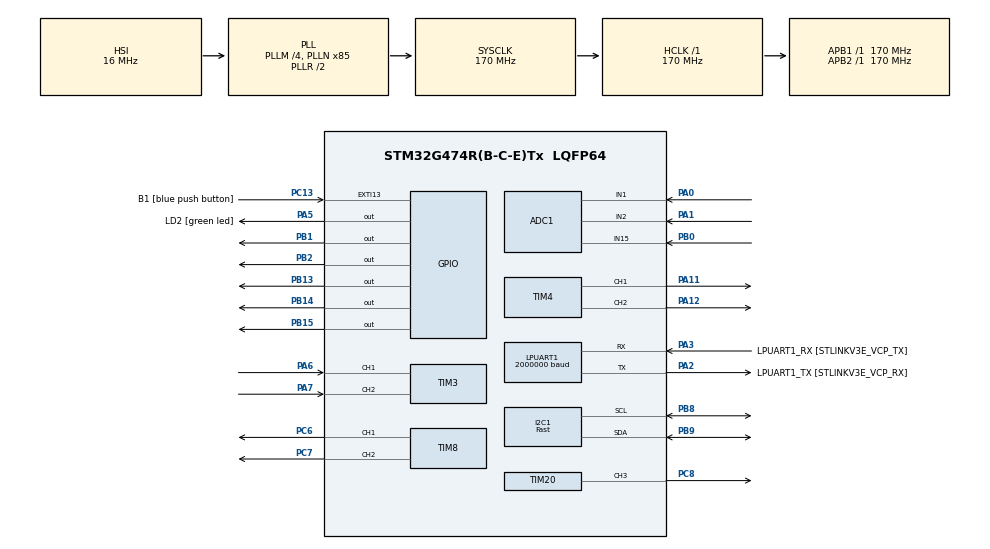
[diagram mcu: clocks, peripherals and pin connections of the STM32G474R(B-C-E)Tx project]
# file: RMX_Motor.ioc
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ADC1.Channel-0\#ChannelRegularConversion=ADC_CHANNEL_1
ADC1.Channel-1\#ChannelRegularConversion=ADC_CHANNEL_2
ADC1.Channel-2\#ChannelRegularConversion=ADC_CHANNEL_15
ADC1.ContinuousConvMode=ENABLE
ADC1.DMAContinuousRequests=ENABLE
ADC1.ExternalTrigConv=ADC_EXTERNALTRIG_T2_TRGO
ADC1.NbrOfConversion=3
ADC1.NbrOfConversionFlag=1
ADC1.OffsetNumber-0\#ChannelRegularConversion=ADC_OFFSET_NONE
ADC1.OffsetNumber-1\#ChannelRegularConversion=ADC_OFFSET_NONE
ADC1.OffsetNumber-2\#ChannelRegularConversion=ADC_OFFSET_NONE
ADC1.Rank-0\#ChannelRegularConversion=1
ADC1.Rank-1\#ChannelRegularConversion=2
ADC1.Rank-2\#ChannelRegularConversion=3
ADC1.SamplingTime-0\#ChannelRegularConversion=ADC_SAMPLETIME_640CYCLES_5
ADC1.SamplingTime-1\#ChannelRegularConversion=ADC_SAMPLETIME_640CYCLES_5
ADC1.SamplingTime-2\#ChannelRegularConversion=ADC_SAMPLETIME_640CYCLES_5
ADC1.master=1
Dma.ADC1.0.Direction=DMA_PERIPH_TO_MEMORY
Dma.ADC1.0.EventEnable=DISABLE
Dma.ADC1.0.Instance=DMA1_Channel1
Dma.ADC1.0.MemDataAlignment=DMA_MDATAALIGN_HALFWORD
Dma.ADC1.0.MemInc=DMA_MINC_ENABLE
Dma.ADC1.0.Mode=DMA_CIRCULAR
Dma.ADC1.0.PeriphDataAlignment=DMA_PDATAALIGN_HALFWORD
Dma.ADC1.0.PeriphInc=DMA_PINC_DISABLE
Dma.ADC1.0.Polarity=HAL_DMAMUX_REQ_GEN_RISING
Dma.ADC1.0.Priority=DMA_PRIORITY_LOW
Dma.ADC1.0.RequestNumber=1
Dma.ADC1.0.SignalID=NONE
Dma.ADC1.0.SyncEnable=DISABLE
Dma.ADC1.0.SyncPolarity=HAL_DMAMUX_SYNC_NO_EVENT
Dma.ADC1.0.SyncRequestNumber=1
Dma.ADC1.0.SyncSignalID=NONE
Dma.I2C1_RX.3.Direction=DMA_PERIPH_TO_MEMORY
Dma.I2C1_RX.3.EventEnable=DISABLE
Dma.I2C1_RX.3.Instance=DMA1_Channel4
Dma.I2C1_RX.3.MemDataAlignment=DMA_MDATAALIGN_BYTE
Dma.I2C1_RX.3.MemInc=DMA_MINC_ENABLE
Dma.I2C1_RX.3.Mode=DMA_NORMAL
Dma.I2C1_RX.3.PeriphDataAlignment=DMA_PDATAALIGN_BYTE
Dma.I2C1_RX.3.PeriphInc=DMA_PINC_DISABLE
Dma.I2C1_RX.3.Polarity=HAL_DMAMUX_REQ_GEN_RISING
Dma.I2C1_RX.3.Priority=DMA_PRIORITY_LOW
Dma.I2C1_RX.3.RequestNumber=1
Dma.I2C1_RX.3.SignalID=NONE
Dma.I2C1_RX.3.SyncEnable=DISABLE
Dma.I2C1_RX.3.SyncPolarity=HAL_DMAMUX_SYNC_NO_EVENT
Dma.I2C1_RX.3.SyncRequestNumber=1
Dma.I2C1_RX.3.SyncSignalID=NONE
Dma.I2C1_TX.4.Direction=DMA_MEMORY_TO_PERIPH
Dma.I2C1_TX.4.EventEnable=DISABLE
Dma.I2C1_TX.4.Instance=DMA1_Channel5
Dma.I2C1_TX.4.MemDataAlignment=DMA_MDATAALIGN_BYTE
Dma.I2C1_TX.4.MemInc=DMA_MINC_ENABLE
Dma.I2C1_TX.4.Mode=DMA_NORMAL
Dma.I2C1_TX.4.PeriphDataAlignment=DMA_PDATAALIGN_BYTE
Dma.I2C1_TX.4.PeriphInc=DMA_PINC_DISABLE
Dma.I2C1_TX.4.Polarity=HAL_DMAMUX_REQ_GEN_RISING
Dma.I2C1_TX.4.Priority=DMA_PRIORITY_LOW
Dma.I2C1_TX.4.RequestNumber=1
Dma.I2C1_TX.4.SignalID=NONE
Dma.I2C1_TX.4.SyncEnable=DISABLE
Dma.I2C1_TX.4.SyncPolarity=HAL_DMAMUX_SYNC_NO_EVENT
Dma.I2C1_TX.4.SyncRequestNumber=1
Dma.I2C1_TX.4.SyncSignalID=NONE
Dma.LPUART1_RX.1.Direction=DMA_PERIPH_TO_MEMORY
Dma.LPUART1_RX.1.EventEnable=DISABLE
Dma.LPUART1_RX.1.Instance=DMA1_Channel2
Dma.LPUART1_RX.1.MemDataAlignment=DMA_MDATAALIGN_BYTE
Dma.LPUART1_RX.1.MemInc=DMA_MINC_ENABLE
Dma.LPUART1_RX.1.Mode=DMA_CIRCULAR
Dma.LPUART1_RX.1.PeriphDataAlignment=DMA_PDATAALIGN_BYTE
Dma.LPUART1_RX.1.PeriphInc=DMA_PINC_DISABLE
Dma.LPUART1_RX.1.Polarity=HAL_DMAMUX_REQ_GEN_RISING
Dma.LPUART1_RX.1.Priority=DMA_PRIORITY_LOW
Dma.LPUART1_RX.1.RequestNumber=1
Dma.LPUART1_RX.1.SignalID=NONE
Dma.LPUART1_RX.1.SyncEnable=DISABLE
Dma.LPUART1_RX.1.SyncPolarity=HAL_DMAMUX_SYNC_NO_EVENT
Dma.LPUART1_RX.1.SyncRequestNumber=1
Dma.LPUART1_RX.1.SyncSignalID=NONE
Dma.LPUART1_TX.2.Direction=DMA_MEMORY_TO_PERIPH
Dma.LPUART1_TX.2.EventEnable=DISABLE
Dma.LPUART1_TX.2.Instance=DMA1_Channel3
Dma.LPUART1_TX.2.MemDataAlignment=DMA_MDATAALIGN_BYTE
Dma.LPUART1_TX.2.MemInc=DMA_MINC_ENABLE
Dma.LPUART1_TX.2.Mode=DMA_NORMAL
Dma.LPUART1_TX.2.PeriphDataAlignment=DMA_PDATAALIGN_BYTE
Dma.LPUART1_TX.2.PeriphInc=DMA_PINC_DISABLE
Dma.LPUART1_TX.2.Polarity=HAL_DMAMUX_REQ_GEN_RISING
Dma.LPUART1_TX.2.Priority=DMA_PRIORITY_LOW
Dma.LPUART1_TX.2.RequestNumber=1
Dma.LPUART1_TX.2.SignalID=NONE
Dma.LPUART1_TX.2.SyncEnable=DISABLE
Dma.LPUART1_TX.2.SyncPolarity=HAL_DMAMUX_SYNC_NO_EVENT
Dma.LPUART1_TX.2.SyncRequestNumber=1
Dma.LPUART1_TX.2.SyncSignalID=NONE
Dma.Request0=ADC1
Dma.Request1=LPUART1_RX
Dma.Request2=LPUART1_TX
Dma.Request3=I2C1_RX
Dma.Request4=I2C1_TX
I2C1.I2C_Speed_Mode=I2C_Fast
I2C1.Timing=0x40621236
LPUART1.BaudRate=2000000
LPUART1.Parity=UART_PARITY_NONE
Mcu.Family=STM32G4
Mcu.Name=STM32G474R(B-C-E)Tx
Mcu.Package=LQFP64
NVIC.DMA1_Channel1_IRQn=true\:0\:0\:false\:false\:true\:false\:true\:true
NVIC.DMA1_Channel2_IRQn=true\:0\:0\:false\:false\:true\:false\:true\:true
NVIC.DMA1_Channel3_IRQn=true\:0\:0\:false\:false\:true\:false\:true\:true
NVIC.DMA1_Channel4_IRQn=true\:0\:0\:false\:false\:true\:false\:true\:true
NVIC.DMA1_Channel5_IRQn=true\:0\:0\:false\:false\:true\:false\:true\:true
NVIC.EXTI15_10_IRQn=true\:0\:0\:false\:false\:true\:true\:true\:true
NVIC.I2C1_ER_IRQn=true\:0\:0\:false\:false\:true\:true\:true\:true
NVIC.I2C1_EV_IRQn=true\:0\:0\:false\:false\:true\:true\:true\:true
NVIC.LPUART1_IRQn=true\:0\:0\:false\:false\:true\:true\:true\:true
NVIC.PriorityGroup=NVIC_PRIORITYGROUP_4
NVIC.TIM2_IRQn=true\:0\:0\:false\:false\:true\:true\:true\:true
PA0.Mode=IN1-Single-Ended
PA0.Signal=ADC1_IN1
PA1.Mode=IN2-Single-Ended
PA1.Signal=ADC1_IN2
PA11.Signal=S_TIM4_CH1
PA12.Signal=S_TIM4_CH2
PA13.GPIO_Label=T_SWDIO
PA13.Signal=SYS_JTMS-SWDIO
PA14.GPIO_Label=T_SWCLK
PA14.Signal=SYS_JTCK-SWCLK
PA2.GPIO_Label=LPUART1_TX [STLINKV3E_VCP_RX]
PA2.Mode=Asynchronous
PA2.Signal=LPUART1_TX
PA3.GPIO_Label=LPUART1_RX [STLINKV3E_VCP_TX]
PA3.Mode=Asynchronous
PA3.Signal=LPUART1_RX
PA5.GPIO_Label=LD2 [green led]
PA5.Signal=GPIO_Output
PA6.Signal=S_TIM3_CH1
PA7.Signal=S_TIM3_CH2
PB0.Mode=IN15-Single-Ended
PB0.Signal=ADC1_IN15
PB1.Signal=GPIO_Output
PB13.Signal=GPIO_Output
PB14.Signal=GPIO_Output
PB15.Signal=GPIO_Output
PB2.Signal=GPIO_Output
PB3.GPIO_Label=T_SWO
PB3.Signal=SYS_JTDO-SWO
PB8-BOOT0.Mode=I2C
PB8-BOOT0.Signal=I2C1_SCL
PB9.Mode=I2C
PB9.Signal=I2C1_SDA
PC13.GPIO_Label=B1 [blue push button]
PC13.Signal=GPXTI13
PC14-OSC32_IN.GPIO_Label=RCC_OSC32_IN
PC14-OSC32_IN.Signal=RCC_OSC32_IN
PC15-OSC32_OUT.GPIO_Label=RCC_OSC32_OUT
PC15-OSC32_OUT.Signal=RCC_OSC32_OUT
PC6.Signal=S_TIM8_CH1
PC7.Signal=S_TIM8_CH2
PC8.Signal=S_TIM20_CH3
PF0-OSC_IN.GPIO_Label=RCC_OSC_IN
PF0-OSC_IN.Signal=RCC_OSC_IN
PF1-OSC_OUT.GPIO_Label=RCC_OSC_OUT
PF1-OSC_OUT.Signal=RCC_OSC_OUT
ProjectManager.HeapSize=0x200
ProjectManager.StackSize=0x400
ProjectManager.TargetToolchain=STM32CubeIDE
RCC.ADC12Freq_Value=170000000
RCC.ADC345Freq_Value=170000000
RCC.AHBFreq_Value=170000000
RCC.APB1Freq_Value=170000000
RCC.APB1TimFreq_Value=170000000
RCC.APB2Freq_Value=170000000
RCC.APB2TimFreq_Value=170000000
RCC.CortexFreq_Value=170000000
RCC.EXTERNAL_CLOCK_VALUE=12288000
RCC.HCLKFreq_Value=170000000
RCC.HSE_VALUE=24000000
RCC.HSI48_VALUE=48000000
RCC.HSI_VALUE=16000000
RCC.LSE_VALUE=32768
RCC.PLLM=RCC_PLLM_DIV4
RCC.PLLN=85
RCC.RTCClockSelection=RCC_RTCCLKSOURCE_LSE
RCC.SYSCLKFreq_VALUE=170000000
RCC.SYSCLKSource=RCC_SYSCLKSOURCE_PLLCLK
RCC.USBFreq_Value=170000000
RCC.VCOOutputFreq_Value=340000000
SH.S_TIM20_CH3.0=TIM20_CH3,PWM Generation3 CH3
SH.S_TIM3_CH1.0=TIM3_CH1,Encoder_Interface
SH.S_TIM3_CH2.0=TIM3_CH2,Encoder_Interface
SH.S_TIM4_CH1.0=TIM4_CH1,PWM Generation1 CH1
SH.S_TIM4_CH2.0=TIM4_CH2,PWM Generation2 CH2
SH.S_TIM8_CH1.0=TIM8_CH1,PWM Generation1 CH1
SH.S_TIM8_CH2.0=TIM8_CH2,PWM Generation2 CH2
TIM2.PeriodNoDither=999
TIM2.Prescaler=169
TIM2.TIM_MasterOutputTrigger=TIM_TRGO_UPDATE
TIM20.Channel-PWM\ Generation3\ CH3=TIM_CHANNEL_3
TIM3.EncoderMode=TIM_ENCODERMODE_TI12
TIM4.Channel-PWM\ Generation1\ CH1=TIM_CHANNEL_1
TIM4.Channel-PWM\ Generation2\ CH2=TIM_CHANNEL_2
TIM8.Channel-PWM\ Generation1\ CH1=TIM_CHANNEL_1
TIM8.Channel-PWM\ Generation2\ CH2=TIM_CHANNEL_2
VP_SYS_VS_DBSignals.Mode=DisableDeadBatterySignals
VP_TIM20_VS_ClockSourceINT.Mode=Internal
VP_TIM2_VS_ClockSourceINT.Mode=Internal
VP_TIM4_VS_ClockSourceINT.Mode=Internal
VP_TIM8_VS_ClockSourceINT.Mode=Internal
board=NUCLEO-G474RE

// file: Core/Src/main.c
/* USER CODE BEGIN Header */
/**
 ******************************************************************************
 * @file           : main.c
 * @brief          : Main program body
 ******************************************************************************
 * @attention
 *
 * Copyright (c) 2024 STMicroelectronics.
 * All rights reserved.
 *
 * This software is licensed under terms that can be found in the LICENSE file
 * in the root directory of this software component.
 * If no LICENSE file comes with this software, it is provided AS-IS.
 *
 ******************************************************************************
 */
/* USER CODE END Header */
#include "main.h"

/* USER CODE BEGIN Includes */
#include "RMX_Motor.h"
/* USER CODE END Includes */

ADC_HandleTypeDef hadc1;
DMA_HandleTypeDef hdma_adc1;

I2C_HandleTypeDef hi2c1;
DMA_HandleTypeDef hdma_i2c1_rx;
DMA_HandleTypeDef hdma_i2c1_tx;

UART_HandleTypeDef hlpuart1;
DMA_HandleTypeDef hdma_lpuart1_rx;
DMA_HandleTypeDef hdma_lpuart1_tx;

TIM_HandleTypeDef htim2;
TIM_HandleTypeDef htim3;
TIM_HandleTypeDef htim4;
TIM_HandleTypeDef htim8;
TIM_HandleTypeDef htim20;

/* USER CODE BEGIN PV */

uint8_t step_config_matlab;
int32_t step_freq_matlab;
int32_t pwm_matlab;
int32_t freq_matlab;

int32_t a = 0;
int32_t b = 0;

int32_t cmd_tk = 0;

uint16_t rawAngle;
uint16_t Angle;

float torque_matlab = 0;
float load_cell = 0;
float wcs1_offset_matlab = 0;
float wcs2_offset_matlab = 0;

GPIO_PinState M0 = 1;
GPIO_PinState M1 = 1;
GPIO_PinState M2 = 1;
GPIO_PinState DIR = 1;
GPIO_PinState EN = 0;

/* USER CODE END PV */

void SystemClock_Config(void);
static void MX_GPIO_Init(void);
static void MX_DMA_Init(void);
static void MX_TIM2_Init(void);
static void MX_TIM3_Init(void);
static void MX_TIM4_Init(void);
static void MX_TIM8_Init(void);
static void MX_ADC1_Init(void);
static void MX_LPUART1_UART_Init(void);
static void MX_I2C1_Init(void);
static void MX_TIM20_Init(void);
/* USER CODE BEGIN PFP */
void LoadCell_compute_data();
/* USER CODE END PFP */

int main(void)
{

  /* MCU Configuration--------------------------------------------------------*/

  /* Reset of all peripherals, Initializes the Flash interface and the Systick. */
  HAL_Init();

  /* Configure the system clock */
  SystemClock_Config();

  /* Initialize all configured peripherals */
  MX_GPIO_Init();
  MX_DMA_Init();
  MX_TIM2_Init();
  MX_TIM3_Init();
  MX_TIM4_Init();
  MX_TIM8_Init();
  MX_ADC1_Init();
  MX_LPUART1_UART_Init();
  MX_I2C1_Init();
  MX_TIM20_Init();
  /* USER CODE BEGIN 2 */
	RMX_Motor_begin();
  /* USER CODE END 2 */

  /* Infinite loop */
	while (1) {

	}
}

void SystemClock_Config(void)
{
  RCC_OscInitTypeDef RCC_OscInitStruct = {0};
  RCC_ClkInitTypeDef RCC_ClkInitStruct = {0};

  /** Configure the main internal regulator output voltage
  */
  HAL_PWREx_ControlVoltageScaling(PWR_REGULATOR_VOLTAGE_SCALE1_BOOST);

  /** Initializes the RCC Oscillators according to the specified parameters
  * in the RCC_OscInitTypeDef structure.
  */
  RCC_OscInitStruct.OscillatorType = RCC_OSCILLATORTYPE_HSI;
  RCC_OscInitStruct.HSIState = RCC_HSI_ON;
  RCC_OscInitStruct.HSICalibrationValue = RCC_HSICALIBRATION_DEFAULT;
  RCC_OscInitStruct.PLL.PLLState = RCC_PLL_ON;
  RCC_OscInitStruct.PLL.PLLSource = RCC_PLLSOURCE_HSI;
  RCC_OscInitStruct.PLL.PLLM = RCC_PLLM_DIV4;
  RCC_OscInitStruct.PLL.PLLN = 85;
  RCC_OscInitStruct.PLL.PLLP = RCC_PLLP_DIV2;
  RCC_OscInitStruct.PLL.PLLQ = RCC_PLLQ_DIV2;
  RCC_OscInitStruct.PLL.PLLR = RCC_PLLR_DIV2;
  if (HAL_RCC_OscConfig(&RCC_OscInitStruct) != HAL_OK)
  {
    Error_Handler();
  }

  /** Initializes the CPU, AHB and APB buses clocks
  */
  RCC_ClkInitStruct.ClockType = RCC_CLOCKTYPE_HCLK|RCC_CLOCKTYPE_SYSCLK
                              |RCC_CLOCKTYPE_PCLK1|RCC_CLOCKTYPE_PCLK2;
  RCC_ClkInitStruct.SYSCLKSource = RCC_SYSCLKSOURCE_PLLCLK;
  RCC_ClkInitStruct.AHBCLKDivider = RCC_SYSCLK_DIV1;
  RCC_ClkInitStruct.APB1CLKDivider = RCC_HCLK_DIV1;
  RCC_ClkInitStruct.APB2CLKDivider = RCC_HCLK_DIV1;

  if (HAL_RCC_ClockConfig(&RCC_ClkInitStruct, FLASH_LATENCY_4) != HAL_OK)
  {
    Error_Handler();
  }
}

static void MX_ADC1_Init(void)
{

  ADC_MultiModeTypeDef multimode = {0};
  ADC_ChannelConfTypeDef sConfig = {0};

  /** Common config
  */
  hadc1.Instance = ADC1;
  hadc1.Init.ClockPrescaler = ADC_CLOCK_SYNC_PCLK_DIV4;
  hadc1.Init.Resolution = ADC_RESOLUTION_12B;
  hadc1.Init.DataAlign = ADC_DATAALIGN_RIGHT;
  hadc1.Init.GainCompensation = 0;
  hadc1.Init.ScanConvMode = ADC_SCAN_ENABLE;
  hadc1.Init.EOCSelection = ADC_EOC_SINGLE_CONV;
  hadc1.Init.LowPowerAutoWait = DISABLE;
  hadc1.Init.ContinuousConvMode = ENABLE;
  hadc1.Init.NbrOfConversion = 3;
  hadc1.Init.DiscontinuousConvMode = DISABLE;
  hadc1.Init.ExternalTrigConv = ADC_EXTERNALTRIG_T2_TRGO;
  hadc1.Init.ExternalTrigConvEdge = ADC_EXTERNALTRIGCONVEDGE_RISING;
  hadc1.Init.DMAContinuousRequests = ENABLE;
  hadc1.Init.Overrun = ADC_OVR_DATA_PRESERVED;
  hadc1.Init.OversamplingMode = DISABLE;
  if (HAL_ADC_Init(&hadc1) != HAL_OK)
  {
    Error_Handler();
  }

  /** Configure the ADC multi-mode
  */
  multimode.Mode = ADC_MODE_INDEPENDENT;
  if (HAL_ADCEx_MultiModeConfigChannel(&hadc1, &multimode) != HAL_OK)
  {
    Error_Handler();
  }

  /** Configure Regular Channel
  */
  sConfig.Channel = ADC_CHANNEL_1;
  sConfig.Rank = ADC_REGULAR_RANK_1;
  sConfig.SamplingTime = ADC_SAMPLETIME_640CYCLES_5;
  sConfig.SingleDiff = ADC_SINGLE_ENDED;
  sConfig.OffsetNumber = ADC_OFFSET_NONE;
  sConfig.Offset = 0;
  if (HAL_ADC_ConfigChannel(&hadc1, &sConfig) != HAL_OK)
  {
    Error_Handler();
  }

  /** Configure Regular Channel
  */
  sConfig.Channel = ADC_CHANNEL_2;
  sConfig.Rank = ADC_REGULAR_RANK_2;
  if (HAL_ADC_ConfigChannel(&hadc1, &sConfig) != HAL_OK)
  {
    Error_Handler();
  }

  /** Configure Regular Channel
  */
  sConfig.Channel = ADC_CHANNEL_15;
  sConfig.Rank = ADC_REGULAR_RANK_3;
  if (HAL_ADC_ConfigChannel(&hadc1, &sConfig) != HAL_OK)
  {
    Error_Handler();
  }

}

static void MX_I2C1_Init(void)
{

  hi2c1.Instance = I2C1;
  hi2c1.Init.Timing = 0x40621236;
  hi2c1.Init.OwnAddress1 = 0;
  hi2c1.Init.AddressingMode = I2C_ADDRESSINGMODE_7BIT;
  hi2c1.Init.DualAddressMode = I2C_DUALADDRESS_DISABLE;
  hi2c1.Init.OwnAddress2 = 0;
  hi2c1.Init.OwnAddress2Masks = I2C_OA2_NOMASK;
  hi2c1.Init.GeneralCallMode = I2C_GENERALCALL_DISABLE;
  hi2c1.Init.NoStretchMode = I2C_NOSTRETCH_DISABLE;
  if (HAL_I2C_Init(&hi2c1) != HAL_OK)
  {
    Error_Handler();
  }

  /** Configure Analogue filter
  */
  if (HAL_I2CEx_ConfigAnalogFilter(&hi2c1, I2C_ANALOGFILTER_ENABLE) != HAL_OK)
  {
    Error_Handler();
  }

  /** Configure Digital filter
  */
  if (HAL_I2CEx_ConfigDigitalFilter(&hi2c1, 0) != HAL_OK)
  {
    Error_Handler();
  }

}

static void MX_LPUART1_UART_Init(void)
{

  hlpuart1.Instance = LPUART1;
  hlpuart1.Init.BaudRate = 2000000;
  hlpuart1.Init.WordLength = UART_WORDLENGTH_8B;
  hlpuart1.Init.StopBits = UART_STOPBITS_1;
  hlpuart1.Init.Parity = UART_PARITY_NONE;
  hlpuart1.Init.Mode = UART_MODE_TX_RX;
  hlpuart1.Init.HwFlowCtl = UART_HWCONTROL_NONE;
  hlpuart1.Init.OneBitSampling = UART_ONE_BIT_SAMPLE_DISABLE;
  hlpuart1.Init.ClockPrescaler = UART_PRESCALER_DIV1;
  hlpuart1.AdvancedInit.AdvFeatureInit = UART_ADVFEATURE_NO_INIT;
  if (HAL_UART_Init(&hlpuart1) != HAL_OK)
  {
    Error_Handler();
  }
  if (HAL_UARTEx_SetTxFifoThreshold(&hlpuart1, UART_TXFIFO_THRESHOLD_1_8) != HAL_OK)
  {
    Error_Handler();
  }
  if (HAL_UARTEx_SetRxFifoThreshold(&hlpuart1, UART_RXFIFO_THRESHOLD_1_8) != HAL_OK)
  {
    Error_Handler();
  }
  if (HAL_UARTEx_DisableFifoMode(&hlpuart1) != HAL_OK)
  {
    Error_Handler();
  }

}

static void MX_TIM2_Init(void)
{

  TIM_ClockConfigTypeDef sClockSourceConfig = {0};
  TIM_MasterConfigTypeDef sMasterConfig = {0};

  htim2.Instance = TIM2;
  htim2.Init.Prescaler = 169;
  htim2.Init.CounterMode = TIM_COUNTERMODE_UP;
  htim2.Init.Period = 999;
  htim2.Init.ClockDivision = TIM_CLOCKDIVISION_DIV1;
  htim2.Init.AutoReloadPreload = TIM_AUTORELOAD_PRELOAD_DISABLE;
  if (HAL_TIM_Base_Init(&htim2) != HAL_OK)
  {
    Error_Handler();
  }
  sClockSourceConfig.ClockSource = TIM_CLOCKSOURCE_INTERNAL;
  if (HAL_TIM_ConfigClockSource(&htim2, &sClockSourceConfig) != HAL_OK)
  {
    Error_Handler();
  }
  sMasterConfig.MasterOutputTrigger = TIM_TRGO_UPDATE;
  sMasterConfig.MasterSlaveMode = TIM_MASTERSLAVEMODE_DISABLE;
  if (HAL_TIMEx_MasterConfigSynchronization(&htim2, &sMasterConfig) != HAL_OK)
  {
    Error_Handler();
  }

}

static void MX_TIM3_Init(void)
{

  TIM_Encoder_InitTypeDef sConfig = {0};
  TIM_MasterConfigTypeDef sMasterConfig = {0};

  htim3.Instance = TIM3;
  htim3.Init.Prescaler = 0;
  htim3.Init.CounterMode = TIM_COUNTERMODE_UP;
  htim3.Init.Period = 65535;
  htim3.Init.ClockDivision = TIM_CLOCKDIVISION_DIV1;
  htim3.Init.AutoReloadPreload = TIM_AUTORELOAD_PRELOAD_DISABLE;
  sConfig.EncoderMode = TIM_ENCODERMODE_TI12;
  sConfig.IC1Polarity = TIM_ICPOLARITY_RISING;
  sConfig.IC1Selection = TIM_ICSELECTION_DIRECTTI;
  sConfig.IC1Prescaler = TIM_ICPSC_DIV1;
  sConfig.IC1Filter = 0;
  sConfig.IC2Polarity = TIM_ICPOLARITY_RISING;
  sConfig.IC2Selection = TIM_ICSELECTION_DIRECTTI;
  sConfig.IC2Prescaler = TIM_ICPSC_DIV1;
  sConfig.IC2Filter = 0;
  if (HAL_TIM_Encoder_Init(&htim3, &sConfig) != HAL_OK)
  {
    Error_Handler();
  }
  sMasterConfig.MasterOutputTrigger = TIM_TRGO_RESET;
  sMasterConfig.MasterSlaveMode = TIM_MASTERSLAVEMODE_DISABLE;
  if (HAL_TIMEx_MasterConfigSynchronization(&htim3, &sMasterConfig) != HAL_OK)
  {
    Error_Handler();
  }

}

static void MX_TIM4_Init(void)
{

  TIM_ClockConfigTypeDef sClockSourceConfig = {0};
  TIM_MasterConfigTypeDef sMasterConfig = {0};
  TIM_OC_InitTypeDef sConfigOC = {0};

  htim4.Instance = TIM4;
  htim4.Init.Prescaler = 0;
  htim4.Init.CounterMode = TIM_COUNTERMODE_UP;
  htim4.Init.Period = 65535;
  htim4.Init.ClockDivision = TIM_CLOCKDIVISION_DIV1;
  htim4.Init.AutoReloadPreload = TIM_AUTORELOAD_PRELOAD_DISABLE;
  if (HAL_TIM_Base_Init(&htim4) != HAL_OK)
  {
    Error_Handler();
  }
  sClockSourceConfig.ClockSource = TIM_CLOCKSOURCE_INTERNAL;
  if (HAL_TIM_ConfigClockSource(&htim4, &sClockSourceConfig) != HAL_OK)
  {
    Error_Handler();
  }
  if (HAL_TIM_PWM_Init(&htim4) != HAL_OK)
  {
    Error_Handler();
  }
  sMasterConfig.MasterOutputTrigger = TIM_TRGO_RESET;
  sMasterConfig.MasterSlaveMode = TIM_MASTERSLAVEMODE_DISABLE;
  if (HAL_TIMEx_MasterConfigSynchronization(&htim4, &sMasterConfig) != HAL_OK)
  {
    Error_Handler();
  }
  sConfigOC.OCMode = TIM_OCMODE_PWM1;
  sConfigOC.Pulse = 0;
  sConfigOC.OCPolarity = TIM_OCPOLARITY_HIGH;
  sConfigOC.OCFastMode = TIM_OCFAST_DISABLE;
  if (HAL_TIM_PWM_ConfigChannel(&htim4, &sConfigOC, TIM_CHANNEL_1) != HAL_OK)
  {
    Error_Handler();
  }
  if (HAL_TIM_PWM_ConfigChannel(&htim4, &sConfigOC, TIM_CHANNEL_2) != HAL_OK)
  {
    Error_Handler();
  }
  HAL_TIM_MspPostInit(&htim4);

}

static void MX_TIM8_Init(void)
{

  TIM_ClockConfigTypeDef sClockSourceConfig = {0};
  TIM_MasterConfigTypeDef sMasterConfig = {0};
  TIM_OC_InitTypeDef sConfigOC = {0};
  TIM_BreakDeadTimeConfigTypeDef sBreakDeadTimeConfig = {0};

  htim8.Instance = TIM8;
  htim8.Init.Prescaler = 0;
  htim8.Init.CounterMode = TIM_COUNTERMODE_UP;
  htim8.Init.Period = 65535;
  htim8.Init.ClockDivision = TIM_CLOCKDIVISION_DIV1;
  htim8.Init.RepetitionCounter = 0;
  htim8.Init.AutoReloadPreload = TIM_AUTORELOAD_PRELOAD_DISABLE;
  if (HAL_TIM_Base_Init(&htim8) != HAL_OK)
  {
    Error_Handler();
  }
  sClockSourceConfig.ClockSource = TIM_CLOCKSOURCE_INTERNAL;
  if (HAL_TIM_ConfigClockSource(&htim8, &sClockSourceConfig) != HAL_OK)
  {
    Error_Handler();
  }
  if (HAL_TIM_PWM_Init(&htim8) != HAL_OK)
  {
    Error_Handler();
  }
  sMasterConfig.MasterOutputTrigger = TIM_TRGO_RESET;
  sMasterConfig.MasterOutputTrigger2 = TIM_TRGO2_RESET;
  sMasterConfig.MasterSlaveMode = TIM_MASTERSLAVEMODE_DISABLE;
  if (HAL_TIMEx_MasterConfigSynchronization(&htim8, &sMasterConfig) != HAL_OK)
  {
    Error_Handler();
  }
  sConfigOC.OCMode = TIM_OCMODE_PWM1;
  sConfigOC.Pulse = 0;
  sConfigOC.OCPolarity = TIM_OCPOLARITY_HIGH;
  sConfigOC.OCNPolarity = TIM_OCNPOLARITY_HIGH;
  sConfigOC.OCFastMode = TIM_OCFAST_DISABLE;
  sConfigOC.OCIdleState = TIM_OCIDLESTATE_RESET;
  sConfigOC.OCNIdleState = TIM_OCNIDLESTATE_RESET;
  if (HAL_TIM_PWM_ConfigChannel(&htim8, &sConfigOC, TIM_CHANNEL_1) != HAL_OK)
  {
    Error_Handler();
  }
  if (HAL_TIM_PWM_ConfigChannel(&htim8, &sConfigOC, TIM_CHANNEL_2) != HAL_OK)
  {
    Error_Handler();
  }
  sBreakDeadTimeConfig.OffStateRunMode = TIM_OSSR_DISABLE;
  sBreakDeadTimeConfig.OffStateIDLEMode = TIM_OSSI_DISABLE;
  sBreakDeadTimeConfig.LockLevel = TIM_LOCKLEVEL_OFF;
  sBreakDeadTimeConfig.DeadTime = 0;
  sBreakDeadTimeConfig.BreakState = TIM_BREAK_DISABLE;
  sBreakDeadTimeConfig.BreakPolarity = TIM_BREAKPOLARITY_HIGH;
  sBreakDeadTimeConfig.BreakFilter = 0;
  sBreakDeadTimeConfig.BreakAFMode = TIM_BREAK_AFMODE_INPUT;
  sBreakDeadTimeConfig.Break2State = TIM_BREAK2_DISABLE;
  sBreakDeadTimeConfig.Break2Polarity = TIM_BREAK2POLARITY_HIGH;
  sBreakDeadTimeConfig.Break2Filter = 0;
  sBreakDeadTimeConfig.Break2AFMode = TIM_BREAK_AFMODE_INPUT;
  sBreakDeadTimeConfig.AutomaticOutput = TIM_AUTOMATICOUTPUT_DISABLE;
  if (HAL_TIMEx_ConfigBreakDeadTime(&htim8, &sBreakDeadTimeConfig) != HAL_OK)
  {
    Error_Handler();
  }
  HAL_TIM_MspPostInit(&htim8);

}

static void MX_TIM20_Init(void)
{

  TIM_ClockConfigTypeDef sClockSourceConfig = {0};
  TIM_MasterConfigTypeDef sMasterConfig = {0};
  TIM_OC_InitTypeDef sConfigOC = {0};
  TIM_BreakDeadTimeConfigTypeDef sBreakDeadTimeConfig = {0};

  htim20.Instance = TIM20;
  htim20.Init.Prescaler = 0;
  htim20.Init.CounterMode = TIM_COUNTERMODE_UP;
  htim20.Init.Period = 65535;
  htim20.Init.ClockDivision = TIM_CLOCKDIVISION_DIV1;
  htim20.Init.RepetitionCounter = 0;
  htim20.Init.AutoReloadPreload = TIM_AUTORELOAD_PRELOAD_DISABLE;
  if (HAL_TIM_Base_Init(&htim20) != HAL_OK)
  {
    Error_Handler();
  }
  sClockSourceConfig.ClockSource = TIM_CLOCKSOURCE_INTERNAL;
  if (HAL_TIM_ConfigClockSource(&htim20, &sClockSourceConfig) != HAL_OK)
  {
    Error_Handler();
  }
  if (HAL_TIM_PWM_Init(&htim20) != HAL_OK)
  {
    Error_Handler();
  }
  sMasterConfig.MasterOutputTrigger = TIM_TRGO_RESET;
  sMasterConfig.MasterOutputTrigger2 = TIM_TRGO2_RESET;
  sMasterConfig.MasterSlaveMode = TIM_MASTERSLAVEMODE_DISABLE;
  if (HAL_TIMEx_MasterConfigSynchronization(&htim20, &sMasterConfig) != HAL_OK)
  {
    Error_Handler();
  }
  sConfigOC.OCMode = TIM_OCMODE_PWM1;
  sConfigOC.Pulse = 0;
  sConfigOC.OCPolarity = TIM_OCPOLARITY_HIGH;
  sConfigOC.OCNPolarity = TIM_OCNPOLARITY_HIGH;
  sConfigOC.OCFastMode = TIM_OCFAST_DISABLE;
  sConfigOC.OCIdleState = TIM_OCIDLESTATE_RESET;
  sConfigOC.OCNIdleState = TIM_OCNIDLESTATE_RESET;
  if (HAL_TIM_PWM_ConfigChannel(&htim20, &sConfigOC, TIM_CHANNEL_3) != HAL_OK)
  {
    Error_Handler();
  }
  sBreakDeadTimeConfig.OffStateRunMode = TIM_OSSR_DISABLE;
  sBreakDeadTimeConfig.OffStateIDLEMode = TIM_OSSI_DISABLE;
  sBreakDeadTimeConfig.LockLevel = TIM_LOCKLEVEL_OFF;
  sBreakDeadTimeConfig.DeadTime = 0;
  sBreakDeadTimeConfig.BreakState = TIM_BREAK_DISABLE;
  sBreakDeadTimeConfig.BreakPolarity = TIM_BREAKPOLARITY_HIGH;
  sBreakDeadTimeConfig.BreakFilter = 0;
  sBreakDeadTimeConfig.BreakAFMode = TIM_BREAK_AFMODE_INPUT;
  sBreakDeadTimeConfig.Break2State = TIM_BREAK2_DISABLE;
  sBreakDeadTimeConfig.Break2Polarity = TIM_BREAK2POLARITY_HIGH;
  sBreakDeadTimeConfig.Break2Filter = 0;
  sBreakDeadTimeConfig.Break2AFMode = TIM_BREAK_AFMODE_INPUT;
  sBreakDeadTimeConfig.AutomaticOutput = TIM_AUTOMATICOUTPUT_DISABLE;
  if (HAL_TIMEx_ConfigBreakDeadTime(&htim20, &sBreakDeadTimeConfig) != HAL_OK)
  {
    Error_Handler();
  }
  HAL_TIM_MspPostInit(&htim20);

}

static void MX_DMA_Init(void)
{

  /* DMA controller clock enable */
  __HAL_RCC_DMAMUX1_CLK_ENABLE();
  __HAL_RCC_DMA1_CLK_ENABLE();

  /* DMA interrupt init */
  /* DMA1_Channel1_IRQn interrupt configuration */
  HAL_NVIC_SetPriority(DMA1_Channel1_IRQn, 0, 0);
  HAL_NVIC_EnableIRQ(DMA1_Channel1_IRQn);
  /* DMA1_Channel2_IRQn interrupt configuration */
  HAL_NVIC_SetPriority(DMA1_Channel2_IRQn, 0, 0);
  HAL_NVIC_EnableIRQ(DMA1_Channel2_IRQn);
  /* DMA1_Channel3_IRQn interrupt configuration */
  HAL_NVIC_SetPriority(DMA1_Channel3_IRQn, 0, 0);
  HAL_NVIC_EnableIRQ(DMA1_Channel3_IRQn);
  /* DMA1_Channel4_IRQn interrupt configuration */
  HAL_NVIC_SetPriority(DMA1_Channel4_IRQn, 0, 0);
  HAL_NVIC_EnableIRQ(DMA1_Channel4_IRQn);
  /* DMA1_Channel5_IRQn interrupt configuration */
  HAL_NVIC_SetPriority(DMA1_Channel5_IRQn, 0, 0);
  HAL_NVIC_EnableIRQ(DMA1_Channel5_IRQn);

}

static void MX_GPIO_Init(void)
{
  GPIO_InitTypeDef GPIO_InitStruct = {0};

  /* GPIO Ports Clock Enable */
  __HAL_RCC_GPIOC_CLK_ENABLE();
  __HAL_RCC_GPIOF_CLK_ENABLE();
  __HAL_RCC_GPIOA_CLK_ENABLE();
  __HAL_RCC_GPIOB_CLK_ENABLE();

  /*Configure GPIO pin Output Level */
  HAL_GPIO_WritePin(LD2_GPIO_Port, LD2_Pin, GPIO_PIN_RESET);

  /*Configure GPIO pin Output Level */
  HAL_GPIO_WritePin(GPIOB, GPIO_PIN_1|GPIO_PIN_2|GPIO_PIN_13|GPIO_PIN_14
                          |GPIO_PIN_15, GPIO_PIN_RESET);

  /*Configure GPIO pin : B1_Pin */
  GPIO_InitStruct.Pin = B1_Pin;
  GPIO_InitStruct.Mode = GPIO_MODE_IT_RISING;
  GPIO_InitStruct.Pull = GPIO_NOPULL;
  HAL_GPIO_Init(B1_GPIO_Port, &GPIO_InitStruct);

  /*Configure GPIO pin : LD2_Pin */
  GPIO_InitStruct.Pin = LD2_Pin;
  GPIO_InitStruct.Mode = GPIO_MODE_OUTPUT_PP;
  GPIO_InitStruct.Pull = GPIO_NOPULL;
  GPIO_InitStruct.Speed = GPIO_SPEED_FREQ_LOW;
  HAL_GPIO_Init(LD2_GPIO_Port, &GPIO_InitStruct);

  /*Configure GPIO pins : PB1 PB2 PB13 PB14
                           PB15 */
  GPIO_InitStruct.Pin = GPIO_PIN_1|GPIO_PIN_2|GPIO_PIN_13|GPIO_PIN_14
                          |GPIO_PIN_15;
  GPIO_InitStruct.Mode = GPIO_MODE_OUTPUT_PP;
  GPIO_InitStruct.Pull = GPIO_NOPULL;
  GPIO_InitStruct.Speed = GPIO_SPEED_FREQ_LOW;
  HAL_GPIO_Init(GPIOB, &GPIO_InitStruct);

  /* EXTI interrupt init*/
  HAL_NVIC_SetPriority(EXTI15_10_IRQn, 0, 0);
  HAL_NVIC_EnableIRQ(EXTI15_10_IRQn);

}

/* USER CODE BEGIN 4 */
void LoadCell_compute_data(){
	uint32_t sum = 0;
	for (uint32_t j =  0; j < ADC_BUFFER; j += ADC_RANK) {
		if (j + 2 < ADC_BUFFER) {
			sum += adc_raw[j + 2];
		}
	}
	load_cell = (float)sum / (ADC_BUFFER/((float)ADC_RANK))  ;

}

void HAL_UART_RxCpltCallback(UART_HandleTypeDef *huart) {

	if (huart == &hlpuart1) {
		if (RxBuffer[0] == 69 ) { // PWM
//			torque_matlab = *(float *)&RxBuffer[1];
//			step_config_matlab = *(uint8_t *)&RxBuffer[5];
//			step_freq_matlab = *(int32_t *)&RxBuffer[6];
//			pwm_matlab = *(int32_t *)&RxBuffer[10];
//			freq_matlab = *(int32_t *)&RxBuffer[14];
			memcpy(&wcs1_offset_matlab, &RxBuffer[1], sizeof(float)); //4
			memcpy(&wcs2_offset_matlab, &RxBuffer[5], sizeof(float)); //4
			memcpy(&torque_matlab, &RxBuffer[9], sizeof(float)); //4
			memcpy(&step_config_matlab, &RxBuffer[13], sizeof(uint8_t)); //1
			memcpy(&step_freq_matlab, &RxBuffer[14], sizeof(int32_t)); //4
			memcpy(&pwm_matlab, &RxBuffer[18], sizeof(int32_t)); //4
			memcpy(&freq_matlab, &RxBuffer[22], sizeof(int32_t)); //4

			wcs1.offset_voltage = wcs1_offset_matlab;
			wcs2.offset_voltage = wcs2_offset_matlab;

			M0 = (step_config_matlab >> 4) & 0x01;
			M1 = (step_config_matlab >> 3) & 0x01;
			M2 = (step_config_matlab >> 2) & 0x01;
			DIR = (step_config_matlab >> 1) & 0x01;
			EN = (step_config_matlab >> 0) & 0x01;

		}

	}

}

void HAL_TIM_PeriodElapsedCallback(TIM_HandleTypeDef *htim) {
	if (htim == &htim2) {
		QEI_get_diff_count(&encoder);
		QEI_compute_data(&encoder);
		WCS1700_compute_data(&wcs1);
		WCS1700_compute_data(&wcs2);
		LoadCell_compute_data();
//		AS5600_get_angle(as5600, &Angle);
//		AS5600_get_rawAngle(as5600, &rawAngle);
//		cmd_tk = PWM_Satuation(
//				DC_MOTOR_TORQUE_CONTROLLER_Compute(&pid_torque,
//						(torque_matlab / ZGA60FM_1200RPM_Constant.Kt)
//								- wcs1.current, encoder.radps), 65535, -65535);
		cmd_tk = PWM_Satuation(
				PID_CONTROLLER_Compute(&pid_torque,
						(torque_matlab / ZGA60FM_1200RPM_Constant.Kt)
								- wcs1.current), 65535, -65535);
		MDXX_set_range(&motor1, fabs(freq_matlab), cmd_tk);
		MDXX_set_range(&motor2, fabs(freq_matlab), pwm_matlab);
		DRV8825_set_speed(&drv, M0, M1, M2, DIR, EN, step_freq_matlab);

		TxBuffer[0] = 69; // Header
		memcpy(&TxBuffer[1], &wcs1.raw_voltage, sizeof(float)); //4
		memcpy(&TxBuffer[5], &wcs2.raw_voltage, sizeof(float)); //4
		memcpy(&TxBuffer[9], &wcs1.current, sizeof(float)); //4
		memcpy(&TxBuffer[13], &wcs2.current, sizeof(float)); //4
		memcpy(&TxBuffer[17], &encoder.pps, sizeof(float)); //4
		memcpy(&TxBuffer[21], &load_cell, sizeof(float)); //4
		memcpy(&TxBuffer[25], &Angle, sizeof(uint16_t)); //2
		memcpy(&TxBuffer[27], &encoder.pulses, sizeof(int32_t)); //4
		TxBuffer[31] = 10; // '/n' Newline or termination character
		HAL_UART_Transmit_DMA(&hlpuart1, TxBuffer, 32);

	}
}

/* USER CODE END 4 */

void Error_Handler(void)
{
	__disable_irq();
	while (1) {
	}
}
